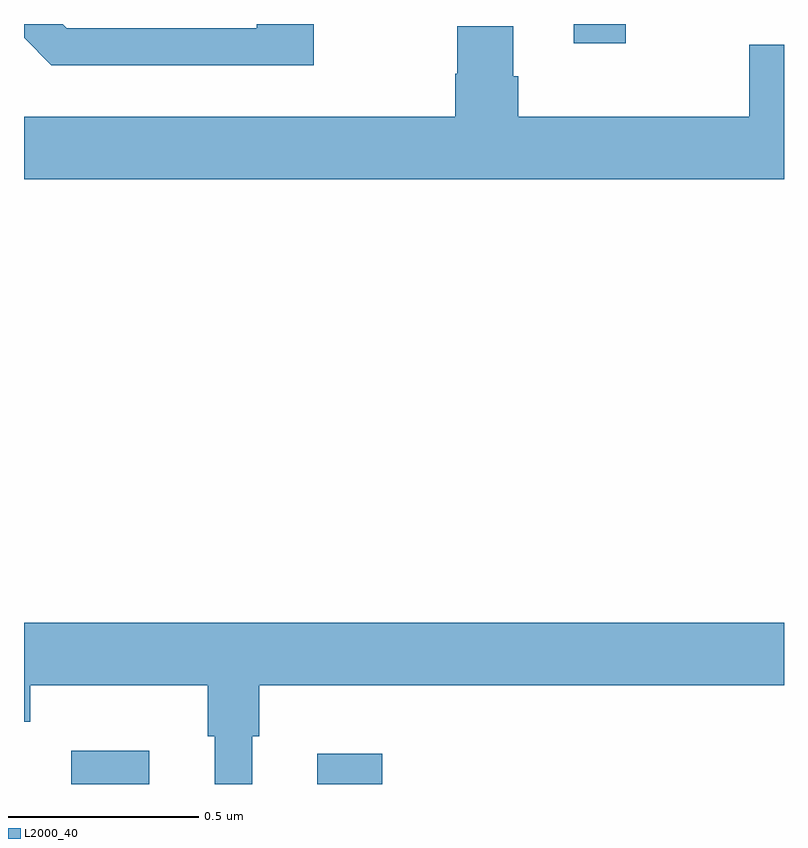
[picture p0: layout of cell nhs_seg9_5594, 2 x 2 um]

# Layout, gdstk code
import gdstk
lib = gdstk.Library(unit=1e-6, precision=1e-09)
def R(c, l, rs):  # rectangles x0, y0, x1, y1
    for r in rs: c.add(gdstk.rectangle(r[:2], r[2:], *l))
def P(c, l, *ps):  # polygons
    for p in ps: c.add(gdstk.Polygon(p, *l))
L2000_40 = (2000, 40)

nhs_seg9_5594 = lib.new_cell('nhs_seg9_5594')
R(nhs_seg9_5594, L2000_40, [(181.124,1189.5,181.33,1189.588), (181.772,1189.5,181.943,1189.579), (182.447,1191.45,182.583,1191.5)])
P(nhs_seg9_5594, L2000_40, [(181.762,1191.5),(181.613,1191.5),(181.613,1191.489),(181.113,1191.489),(181.102,1191.5),(181,1191.5),(181,1191.464),(181.072,1191.392),(181.762,1191.392)],
  [(183,1191.445),(182.908,1191.445),(182.908,1191.256),(182.3,1191.256),(182.3,1191.362),(182.287,1191.362),(182.287,1191.494),(182.14,1191.494),(182.14,1191.369),(182.135,1191.369),(182.135,1191.256),(181,1191.256),(181,1191.092),(183,1191.092)],
  [(181.6,1189.626),(181.619,1189.626),(181.619,1189.76),(183,1189.76),(183,1189.924),(181,1189.924),(181,1189.664),(181.016,1189.664),(181.016,1189.76),(181.483,1189.76),(181.483,1189.626),(181.502,1189.626),(181.502,1189.5),(181.6,1189.5)])

lib.write_gds('nhs_seg9_5594.gds')
